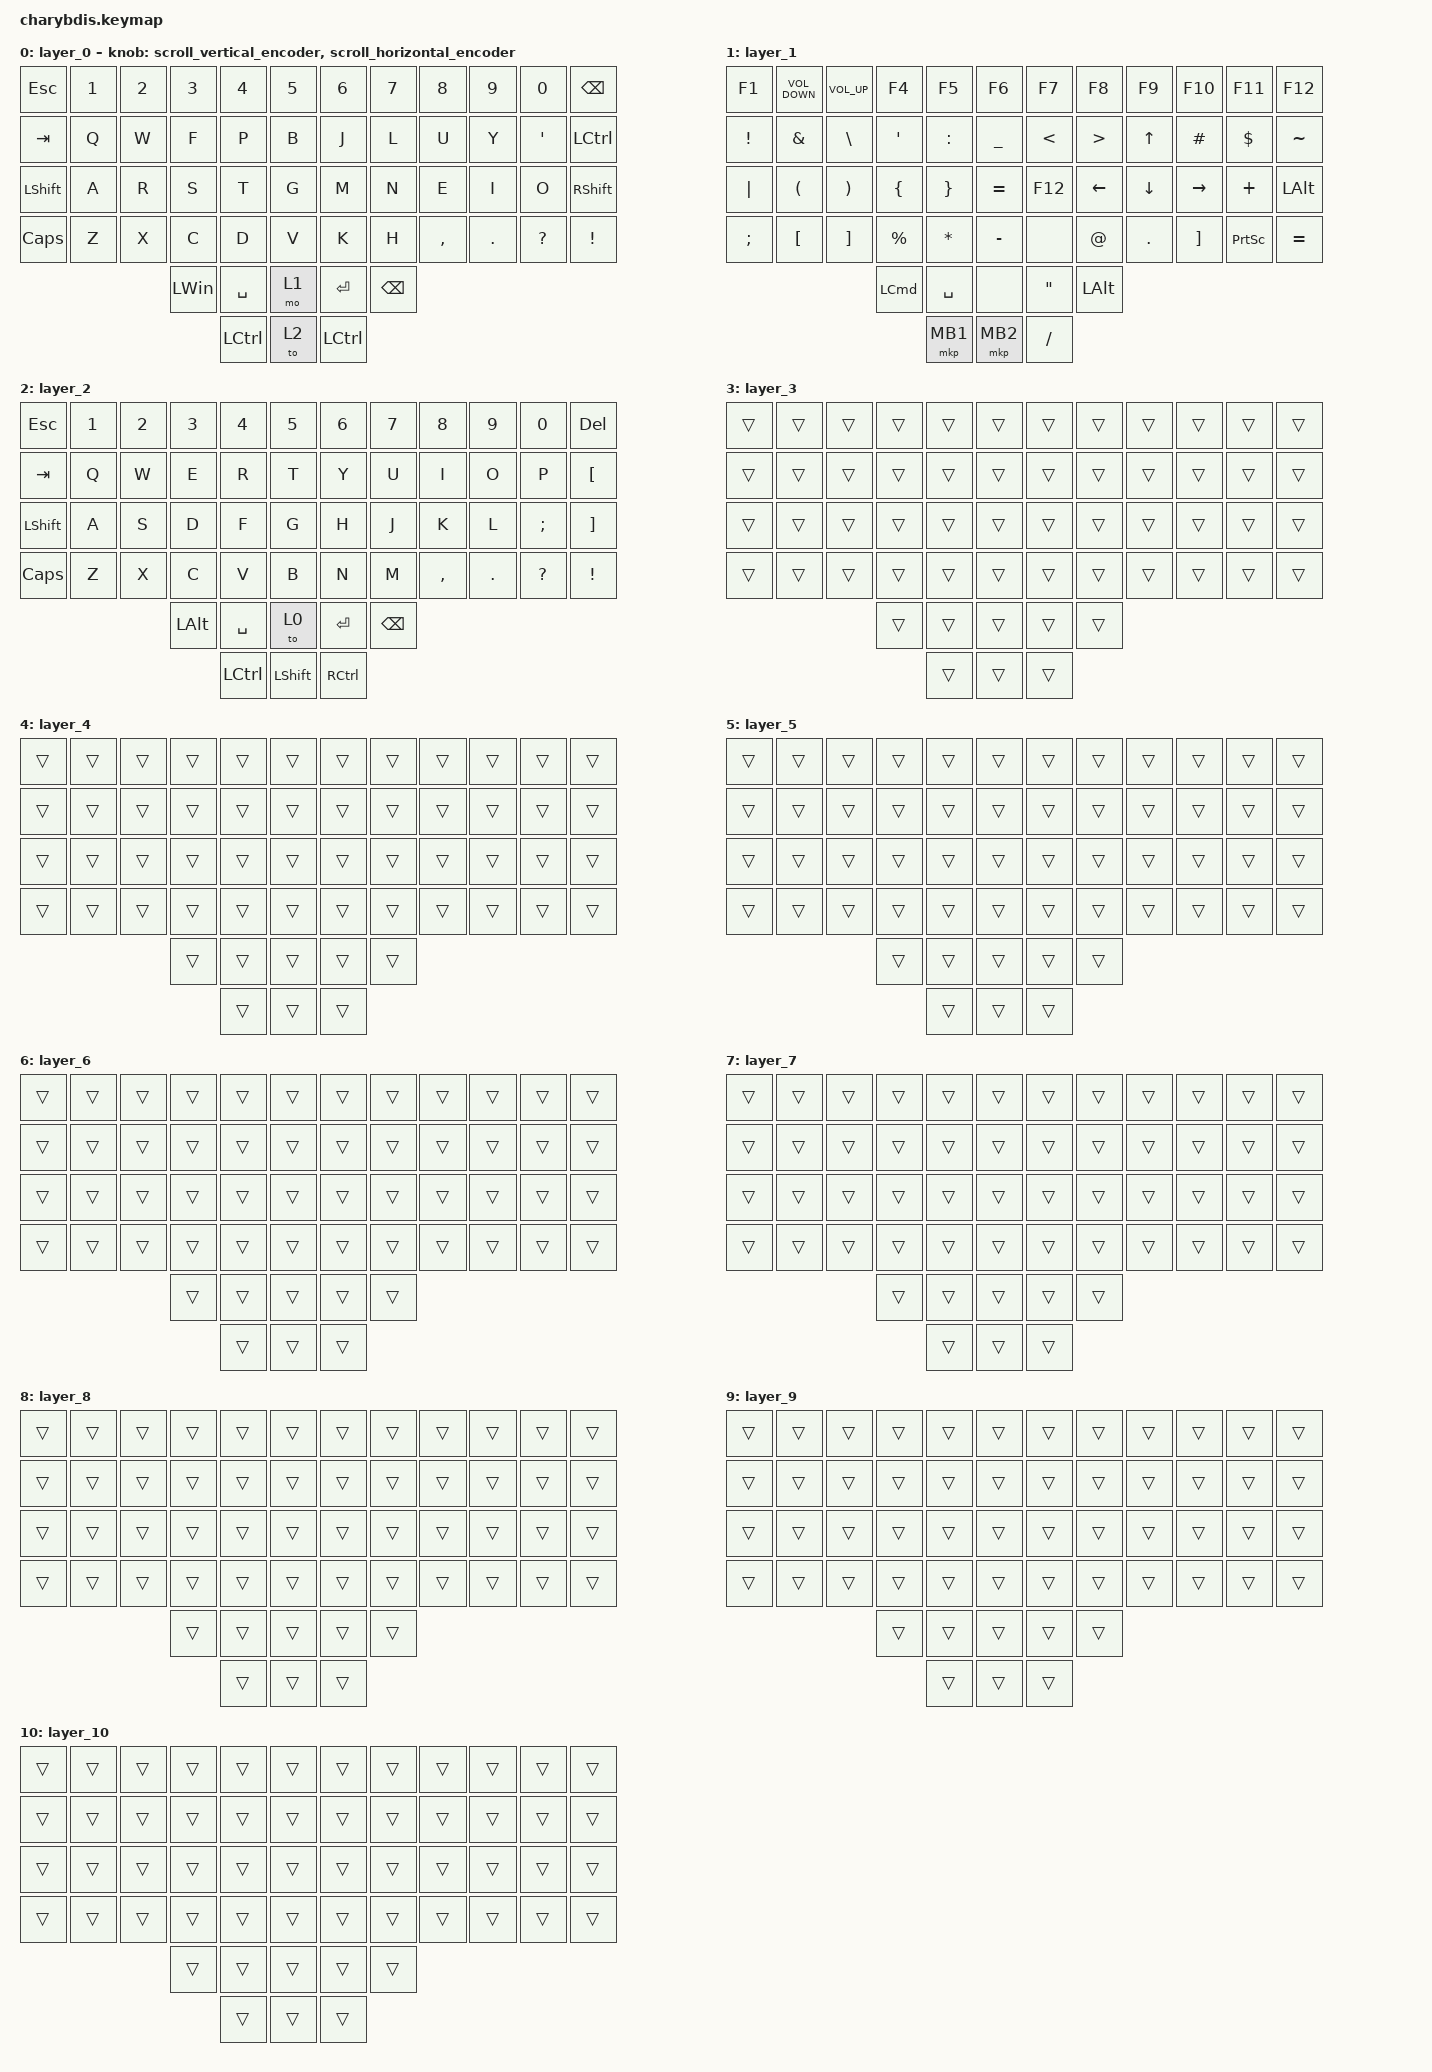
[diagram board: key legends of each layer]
#include <dt-bindings/zmk/mouse.h>
#include <input/processors.dtsi>
#include <zephyr/dt-bindings/input/input-event-codes.h>
#include <behaviors.dtsi>
#include <dt-bindings/zmk/keys.h>
#include <dt-bindings/zmk/pointing.h>
#include <dt-bindings/zmk/rgb.h>

#define ZMK_POINTING_DEFAULT_MOVE_VAL 1000 // 600
#define ZMK_POINTING_DEFAULT_SCRL_VAL 12   // 10

&lt {
    tapping-term-ms = <200>;
    flavor = "balanced";
    quick-tap-ms = <150>;
};

&mmv_input_listener { input-processors = <&zip_xy_scaler 2 1>; };

&msc_input_listener { input-processors = <&zip_scroll_scaler 2 1>; };

&msc {
    acceleration-exponent = <0>;      // 0
    time-to-max-speed-ms = <100>;       // 300
    delay-ms = <0>;                   // 0
};

&mmv {
    time-to-max-speed-ms = <500>;
    acceleration-exponent = <1>;
    trigger-period-ms = <16>;
};

/ {
    // 上下滚动编码器行为

    scroll_vertical_encoder: scroll_vertical_encoder {
        compatible = "zmk,behavior-sensor-rotate";
        #sensor-binding-cells = <0>;
        bindings = <&msc SCRL_DOWN>, <&msc SCRL_UP>;

        tap-ms = <100>;
    };

    // 左右滚动编码器行为

    scroll_horizontal_encoder: scroll_horizontal_encoder {
        compatible = "zmk,behavior-sensor-rotate";
        #sensor-binding-cells = <0>;
        bindings = <&msc SCRL_LEFT>, <&msc SCRL_RIGHT>;

        tap-ms = <100>;
    };

    behaviors {
    };

    macros {
        To1_macro: To1_macro {
            compatible = "zmk,behavior-macro";
            label = "To1_macro";
            #binding-cells = <0>;
            bindings = <&rgb_ug RGB_EFF &rgb_ug RGB_COLOR_HSB(128,100,50) &to 1>;
        };

        To1_macro_A: To1_macro_A {
            compatible = "zmk,behavior-macro";
            label = "To1_macro_A";
            #binding-cells = <0>;
            bindings = <&rgb_ug RGB_COLOR_HSB(128,100,50) &to 1>;
        };

        To0_macro: To0_macro {
            compatible = "zmk,behavior-macro";
            label = "To0_macro";
            #binding-cells = <0>;
            bindings = <&rgb_ug RGB_EFR &to 0>;
        };

        To2_macro_A: To2_macro_A {
            compatible = "zmk,behavior-macro";
            label = "To2_macro_A";
            #binding-cells = <0>;
            bindings = <&rgb_ug RGB_COLOR_HSB(250,100,50) &to 2>;
        };

        To2_macro: To2_macro {
            compatible = "zmk,behavior-macro";
            label = "To2_macro";
            #binding-cells = <0>;
            bindings = <&rgb_ug RGB_EFF &rgb_ug RGB_COLOR_HSB(250,100,50) &to 2>;
        };
    };

    keymap {
        compatible = "zmk,keymap";

        layer_0 {
            bindings = <
&kp ESC         &kp N1  &kp N2  &kp N3        &kp N4     &kp N5    &kp NUMBER_6  &kp N7         &kp N8     &kp N9   &kp N0        &kp BACKSPACE
&kp TAB         &kp Q   &kp W   &kp F         &kp P      &kp B     &kp J         &kp L          &kp U      &kp Y    &kp SQT       &kp LCTRL
&kp LEFT_SHIFT  &kp A   &kp R   &kp S         &kp T      &kp G     &kp M         &kp N          &kp E      &kp I    &kp O         &kp RIGHT_SHIFT
&kp CAPS        &kp Z   &kp X   &kp C         &kp D      &kp V     &kp K         &kp H          &kp COMMA  &kp DOT  &kp QUESTION  &kp EXCL
                                &kp LEFT_WIN  &kp SPACE  &mo 1     &kp ENTER     &kp BACKSPACE
                                              &kp LCTRL  &to 2     &kp LCTRL
            >;

            sensor-bindings =
                <&scroll_vertical_encoder>,
                // 编码器1：上下滚动,,,
                <&scroll_horizontal_encoder>;

            // 编码器2：左右滚动
        };

        layer_1 {
            bindings = <
&kp F1           &kp K_VOLUME_DOWN     &kp K_VOLUME_UP        &kp F4            &kp F5           &kp F6       &kp F7             &kp F8            &kp F9          &kp F10            &kp F11          &kp F12
&kp EXCLAMATION  &kp AMPERSAND         &kp BACKSLASH          &kp SQT           &kp COLON        &kp UNDER    &kp LESS_THAN      &kp GREATER_THAN  &kp UP_ARROW    &kp HASH           &kp DOLLAR       &kp TILDE
&kp PIPE         &kp LEFT_PARENTHESIS  &kp RIGHT_PARENTHESIS  &kp LEFT_BRACE    &kp RIGHT_BRACE  &kp EQUAL    &kp F12            &kp LEFT_ARROW    &kp DOWN_ARROW  &kp RIGHT_ARROW    &kp PLUS         &kp LALT
&kp SEMICOLON    &kp LEFT_BRACKET      &kp RIGHT_BRACKET      &kp PERCENT       &kp ASTERISK     &kp MINUS    &none              &kp AT_SIGN       &kp PERIOD      &kp RIGHT_BRACKET  &kp PRINTSCREEN  &kp EQUAL
                                                              &kp LEFT_COMMAND  &kp SPACE        &none        &kp DOUBLE_QUOTES  &kp LALT
                                                                                &mkp MB1         &mkp MB2     &kp SLASH
            >;
        };

        layer_2 {
            bindings = <
&kp ESC         &kp NUMBER_1  &kp NUMBER_2  &kp NUMBER_3  &kp NUMBER_4      &kp N5            &kp NUMBER_6       &kp N7         &kp N8     &kp N9      &kp N0         &kp DEL
&kp TAB         &kp Q         &kp W         &kp E         &kp R             &kp T             &kp Y              &kp U          &kp I      &kp O       &kp P          &kp LEFT_BRACKET
&kp LEFT_SHIFT  &kp A         &kp S         &kp D         &kp F             &kp G             &kp H              &kp J          &kp K      &kp L       &kp SEMICOLON  &kp RIGHT_BRACKET
&kp CAPS        &kp Z         &kp X         &kp C         &kp V             &kp B             &kp N              &kp M          &kp COMMA  &kp PERIOD  &kp QUESTION   &kp EXCL
                                            &kp LALT      &kp SPACE         &to 0             &kp ENTER          &kp BACKSPACE
                                                          &kp LEFT_CONTROL  &kp LEFT_SHIFT    &kp RIGHT_CONTROL
            >;
        };

        layer_3 {
            bindings = <
&trans  &trans  &trans  &trans  &trans  &trans    &trans  &trans  &trans  &trans  &trans  &trans
&trans  &trans  &trans  &trans  &trans  &trans    &trans  &trans  &trans  &trans  &trans  &trans
&trans  &trans  &trans  &trans  &trans  &trans    &trans  &trans  &trans  &trans  &trans  &trans
&trans  &trans  &trans  &trans  &trans  &trans    &trans  &trans  &trans  &trans  &trans  &trans
                        &trans  &trans  &trans    &trans  &trans
                                &trans  &trans    &trans
            >;
        };

        layer_4 {
            bindings = <
&trans  &trans  &trans  &trans  &trans  &trans    &trans  &trans  &trans  &trans  &trans  &trans
&trans  &trans  &trans  &trans  &trans  &trans    &trans  &trans  &trans  &trans  &trans  &trans
&trans  &trans  &trans  &trans  &trans  &trans    &trans  &trans  &trans  &trans  &trans  &trans
&trans  &trans  &trans  &trans  &trans  &trans    &trans  &trans  &trans  &trans  &trans  &trans
                        &trans  &trans  &trans    &trans  &trans
                                &trans  &trans    &trans
            >;
        };

        layer_5 {
            bindings = <
&trans  &trans  &trans  &trans  &trans  &trans    &trans  &trans  &trans  &trans  &trans  &trans
&trans  &trans  &trans  &trans  &trans  &trans    &trans  &trans  &trans  &trans  &trans  &trans
&trans  &trans  &trans  &trans  &trans  &trans    &trans  &trans  &trans  &trans  &trans  &trans
&trans  &trans  &trans  &trans  &trans  &trans    &trans  &trans  &trans  &trans  &trans  &trans
                        &trans  &trans  &trans    &trans  &trans
                                &trans  &trans    &trans
            >;
        };

        layer_6 {
            bindings = <
&trans  &trans  &trans  &trans  &trans  &trans    &trans  &trans  &trans  &trans  &trans  &trans
&trans  &trans  &trans  &trans  &trans  &trans    &trans  &trans  &trans  &trans  &trans  &trans
&trans  &trans  &trans  &trans  &trans  &trans    &trans  &trans  &trans  &trans  &trans  &trans
&trans  &trans  &trans  &trans  &trans  &trans    &trans  &trans  &trans  &trans  &trans  &trans
                        &trans  &trans  &trans    &trans  &trans
                                &trans  &trans    &trans
            >;
        };

        layer_7 {
            bindings = <
&trans  &trans  &trans  &trans  &trans  &trans    &trans  &trans  &trans  &trans  &trans  &trans
&trans  &trans  &trans  &trans  &trans  &trans    &trans  &trans  &trans  &trans  &trans  &trans
&trans  &trans  &trans  &trans  &trans  &trans    &trans  &trans  &trans  &trans  &trans  &trans
&trans  &trans  &trans  &trans  &trans  &trans    &trans  &trans  &trans  &trans  &trans  &trans
                        &trans  &trans  &trans    &trans  &trans
                                &trans  &trans    &trans
            >;
        };

        layer_8 {
            bindings = <
&trans  &trans  &trans  &trans  &trans  &trans    &trans  &trans  &trans  &trans  &trans  &trans
&trans  &trans  &trans  &trans  &trans  &trans    &trans  &trans  &trans  &trans  &trans  &trans
&trans  &trans  &trans  &trans  &trans  &trans    &trans  &trans  &trans  &trans  &trans  &trans
&trans  &trans  &trans  &trans  &trans  &trans    &trans  &trans  &trans  &trans  &trans  &trans
                        &trans  &trans  &trans    &trans  &trans
                                &trans  &trans    &trans
            >;
        };

        layer_9 {
            bindings = <
&trans  &trans  &trans  &trans  &trans  &trans    &trans  &trans  &trans  &trans  &trans  &trans
&trans  &trans  &trans  &trans  &trans  &trans    &trans  &trans  &trans  &trans  &trans  &trans
&trans  &trans  &trans  &trans  &trans  &trans    &trans  &trans  &trans  &trans  &trans  &trans
&trans  &trans  &trans  &trans  &trans  &trans    &trans  &trans  &trans  &trans  &trans  &trans
                        &trans  &trans  &trans    &trans  &trans
                                &trans  &trans    &trans
            >;
        };

        layer_10 {
            bindings = <
&trans  &trans  &trans  &trans  &trans  &trans    &trans  &trans  &trans  &trans  &trans  &trans
&trans  &trans  &trans  &trans  &trans  &trans    &trans  &trans  &trans  &trans  &trans  &trans
&trans  &trans  &trans  &trans  &trans  &trans    &trans  &trans  &trans  &trans  &trans  &trans
&trans  &trans  &trans  &trans  &trans  &trans    &trans  &trans  &trans  &trans  &trans  &trans
                        &trans  &trans  &trans    &trans  &trans
                                &trans  &trans    &trans
            >;
        };

        /* layer_2 {
            bindings = <
&none  &none   &none    &none   &none         &none         &kp N1         &none         &none     &none  &none   &to 0
&none  &none   &none    &none   &none         &none         &none         &none          &rgb_ug RGB_BRD &rgb_ug RGB_BRI  &rgb_ug RGB_EFF   &rgb_ug RGB_TOG
&none  &none   &none    &none   &none         &none         &none         &mkp LCLK     &mkp RCLK  &none  &none   &none
&none  &none   &none    &none   &bt BT_NXT  &bt BT_CLR    &none         &none         &none     &none  &none   &none
                                   &none         &none         &none         &none         &none
                                                 &none         &none         &none
            >;
       
            
        };

       Mouse {
            bindings = <
&none        &none         &none         &none         &none      &none         &none       &none      &none         &none         &none         &none
&none        &bt BT_SEL 0  &bt BT_SEL 1  &bt BT_SEL 3  &none      &bt BT_CLR    &bt BT_CLR  &none      &bt BT_SEL 2  &bt BT_SEL 1  &bt BT_SEL 0  &none
&none        &trans        &trans        &mkp MCLK     &trans     &none         &none       &trans     &mkp MCLK     &trans        &trans        &none
&bootloader  &trans        &mkp RCLK     &mo 4         &mkp LCLK  &mo 5         &mo 5       &mkp LCLK  &mo 4         &mkp RCLK     &trans        &bootloader
                                         &mo 5         &mkp LCLK  &mkp RCLK     &mkp RCLK   &mkp LCLK
                                                       &none      &trans        &trans
            >;

            
        };

        layer_4 {
            bindings = <
&trans  &trans  &trans     &trans     &trans     &trans       &trans     &trans     &trans     &trans     &trans  &trans
&trans  &trans  &trans     &trans     &trans     &trans       &trans     &trans     &trans     &trans     &trans  &trans
&trans  &trans  &trans     &mkp MCLK  &trans     &trans       &trans     &trans     &mkp MCLK  &trans     &trans  &trans
&trans  &trans  &mkp RCLK  &trans     &mkp LCLK  &trans       &trans     &mkp LCLK  &trans     &mkp RCLK  &trans  &trans
                           &trans     &mkp LCLK  &mkp RCLK    &mkp RCLK  &mkp LCLK
                                      &trans     &trans       &trans
            >;
                
                
               
        };

        layer_5 {
            bindings = <
&trans  &trans  &trans     &trans     &trans     &trans       &trans     &trans     &trans     &trans     &trans  &trans
&trans  &trans  &trans     &trans     &trans     &trans       &trans     &trans     &trans     &trans     &trans  &trans
&trans  &trans  &trans     &mkp MCLK  &trans     &trans       &trans     &trans     &mkp MCLK  &trans     &trans  &trans
&trans  &trans  &mkp RCLK  &trans     &mkp LCLK  &trans       &trans     &mkp LCLK  &trans     &mkp RCLK  &trans  &trans
                           &trans     &mkp LCLK  &mkp RCLK    &mkp RCLK  &mkp LCLK
                                      &trans     &trans       &trans
            >;
                
                
        };*/
    };
};
